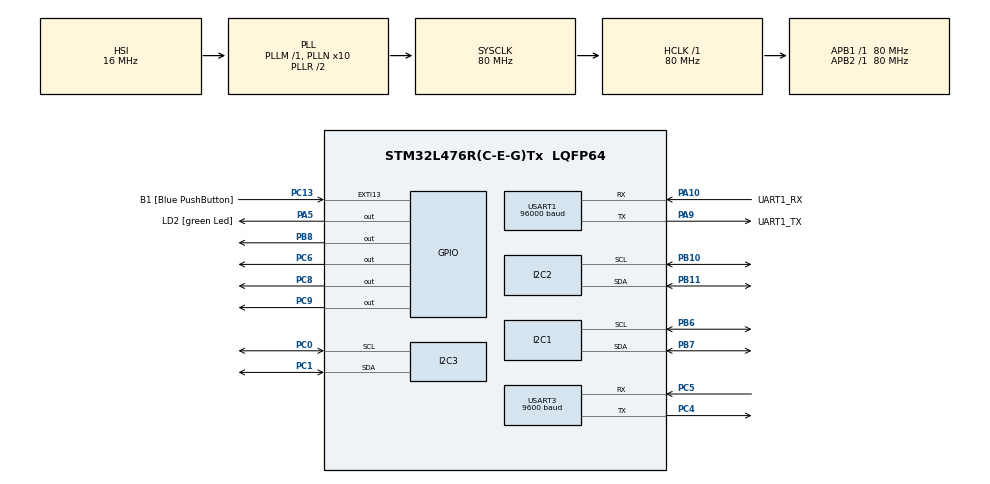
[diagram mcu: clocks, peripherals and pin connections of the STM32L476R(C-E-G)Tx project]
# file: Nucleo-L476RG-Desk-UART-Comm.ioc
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I2C1.Timing=0x10D19CE4
I2C2.Timing=0x10D19CE4
I2C3.Timing=0x10D19CE4
Mcu.Family=STM32L4
Mcu.Name=STM32L476R(C-E-G)Tx
Mcu.Package=LQFP64
NVIC.I2C1_ER_IRQn=true\:0\:0\:false\:false\:true\:true\:true\:true
NVIC.I2C1_EV_IRQn=true\:0\:0\:false\:false\:true\:true\:true\:true
NVIC.I2C2_ER_IRQn=true\:0\:0\:false\:false\:true\:true\:true\:true
NVIC.I2C2_EV_IRQn=true\:0\:0\:false\:false\:true\:true\:true\:true
NVIC.I2C3_ER_IRQn=true\:0\:0\:false\:false\:true\:true\:true\:true
NVIC.I2C3_EV_IRQn=true\:0\:0\:false\:false\:true\:true\:true\:true
NVIC.PriorityGroup=NVIC_PRIORITYGROUP_4
NVIC.USART1_IRQn=true\:0\:0\:false\:false\:true\:true\:true\:true
NVIC.USART3_IRQn=true\:0\:0\:false\:false\:true\:true\:true\:true
PA10.GPIO_Label=UART1_RX
PA10.Mode=Asynchronous
PA10.Signal=USART1_RX
PA13\ (JTMS-SWDIO).GPIO_Label=TMS
PA13\ (JTMS-SWDIO).Mode=Serial_Wire
PA13\ (JTMS-SWDIO).Signal=SYS_JTMS-SWDIO
PA14\ (JTCK-SWCLK).GPIO_Label=TCK
PA14\ (JTCK-SWCLK).Mode=Serial_Wire
PA14\ (JTCK-SWCLK).Signal=SYS_JTCK-SWCLK
PA2.GPIO_Label=UART2_TX
PA2.GPIO_Mode=GPIO_MODE_AF_PP
PA2.GPIO_PuPd=GPIO_NOPULL
PA2.GPIO_Speed=GPIO_SPEED_FREQ_VERY_HIGH
PA2.Signal=USART2_TX
PA3.GPIO_Label=UART2_RX
PA3.GPIO_Mode=GPIO_MODE_AF_PP
PA3.GPIO_PuPd=GPIO_NOPULL
PA3.GPIO_Speed=GPIO_SPEED_FREQ_VERY_HIGH
PA3.Signal=USART2_RX
PA5.GPIO_Label=LD2 [green Led]
PA5.GPIO_ModeDefaultOutputPP=GPIO_MODE_OUTPUT_PP
PA5.GPIO_PuPd=GPIO_NOPULL
PA5.GPIO_Speed=GPIO_SPEED_FREQ_LOW
PA5.Signal=GPIO_Output
PA9.GPIO_Label=UART1_TX
PA9.Mode=Asynchronous
PA9.Signal=USART1_TX
PB10.GPIO_Pu=GPIO_PULLUP
PB10.Mode=I2C
PB10.Signal=I2C2_SCL
PB11.GPIO_Pu=GPIO_PULLUP
PB11.Mode=I2C
PB11.Signal=I2C2_SDA
PB3\ (JTDO-TRACESWO).GPIO_Label=SWO
PB3\ (JTDO-TRACESWO).Signal=SYS_JTDO-SWO
PB6.GPIO_Pu=GPIO_PULLUP
PB6.Mode=I2C
PB6.Signal=I2C1_SCL
PB7.GPIO_Pu=GPIO_PULLUP
PB7.Mode=I2C
PB7.Signal=I2C1_SDA
PB8.Signal=GPIO_Output
PC0.GPIO_Pu=GPIO_PULLUP
PC0.Mode=I2C
PC0.Signal=I2C3_SCL
PC1.Mode=I2C
PC1.Signal=I2C3_SDA
PC13.GPIO_Label=B1 [Blue PushButton]
PC13.GPIO_ModeDefaultEXTI=GPIO_MODE_IT_FALLING
PC13.GPIO_PuPd=GPIO_NOPULL
PC13.Signal=GPXTI13
PC14-OSC32_IN\ (PC14).Mode=LSE-External-Oscillator
PC14-OSC32_IN\ (PC14).Signal=RCC_OSC32_IN
PC15-OSC32_OUT\ (PC15).Mode=LSE-External-Oscillator
PC15-OSC32_OUT\ (PC15).Signal=RCC_OSC32_OUT
PC4.Mode=Asynchronous
PC4.Signal=USART3_TX
PC5.Mode=Asynchronous
PC5.Signal=USART3_RX
PC6.Signal=GPIO_Output
PC8.Signal=GPIO_Output
PC9.Signal=GPIO_Output
PH0-OSC_IN\ (PH0).Signal=RCC_OSC_IN
PH1-OSC_OUT\ (PH1).Signal=RCC_OSC_OUT
ProjectManager.HeapSize=0x200
ProjectManager.StackSize=0x400
ProjectManager.TargetToolchain=STM32CubeIDE
RCC.ADCFreq_Value=64000000
RCC.AHBFreq_Value=80000000
RCC.APB1Freq_Value=80000000
RCC.APB1TimFreq_Value=80000000
RCC.APB2Freq_Value=80000000
RCC.APB2TimFreq_Value=80000000
RCC.CortexFreq_Value=80000000
RCC.HCLKFreq_Value=80000000
RCC.HSE_VALUE=8000000
RCC.HSI_VALUE=16000000
RCC.MSI_VALUE=4000000
RCC.PLLN=10
RCC.PLLSourceVirtual=RCC_PLLSOURCE_HSI
RCC.PREFETCH_ENABLE=1
RCC.SYSCLKFreq_VALUE=80000000
RCC.SYSCLKSource=RCC_SYSCLKSOURCE_PLLCLK
RCC.USBFreq_Value=64000000
RCC.VCOOutputFreq_Value=160000000
USART1.BaudRate=96000
USART1.Mode=MODE_TX_RX
USART1.VirtualMode-Asynchronous=VM_ASYNC
USART3.BaudRate=9600
USART3.VirtualMode-Asynchronous=VM_ASYNC
board=NUCLEO-L476RG

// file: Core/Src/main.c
/* USER CODE BEGIN Header */
/**
  ******************************************************************************
  * @file           : main.c
  * @brief          : Main program body
  ******************************************************************************
  * @attention
  *
  * Copyright (c) 2025 STMicroelectronics.
  * All rights reserved.
  *
  * This software is licensed under terms that can be found in the LICENSE file
  * in the root directory of this software component.
  * If no LICENSE file comes with this software, it is provided AS-IS.
  *
  ******************************************************************************
  */
/* USER CODE END Header */
#include "main.h"

/* USER CODE BEGIN Includes */
#include "store_flash_data.h"
#include "card_rfid.h"
#include "lab_deck.h"
#include "led_controller.h"
#include "power_relay.h"
#include "desk_control.h"
#include "stdint.h"
#include "stdio.h"
#include "string.h"
#include "stdlib.h"
/* USER CODE END Includes */

I2C_HandleTypeDef hi2c1;
I2C_HandleTypeDef hi2c2;
I2C_HandleTypeDef hi2c3;

UART_HandleTypeDef huart1;
UART_HandleTypeDef huart3;

void SystemClock_Config(void);
static void MX_GPIO_Init(void);
static void MX_USART1_UART_Init(void);
static void MX_I2C1_Init(void);
static void MX_I2C2_Init(void);
static void MX_I2C3_Init(void);
static void MX_USART3_UART_Init(void);

/* USER CODE BEGIN 0 */
// some sample code for writing to memory, temporary
//#define FLASH_ADDRESS_STRING 0X080FF800
//#define FLASH_ADDRESS_COUNTER 0x080fE800
uint16_t RELAY_ADDR = 0x18;
uint8_t turn_On[] =		{0b00000001};
uint8_t turn_Off[] = 	{0b00000000};
struct profiles* list;

//uint32_t counter;
uint8_t rx_buf_rfid[14];
uint8_t rx_buf_desk[4];
uint64_t scanned_ID;
int current_Height = 250;
int target_Height = 300;
uint8_t adjust_Desk = 0;

void loadProfile(struct profiles* profile)
{
	target_Height = profile->Desk_Height;

	//Adjust PWM
	//led_controller_pwm(profile->LED_Red, profile->LED_Green, profile->LED_Blue);

	//Do relays
	//Don't think this will be ready by 5-04

	HAL_I2C_Master_Transmit(&hi2c1, RELAY_ADDR<< 1, turn_Off, 1, 100);
	HAL_I2C_Master_Transmit(&hi2c2, RELAY_ADDR<< 1, turn_Off, 1, 100);
	if (profile->Relay_Preset & 0b01)
	{
		HAL_I2C_Master_Transmit(&hi2c1, RELAY_ADDR<< 1, turn_On, 1, 100);
	}
	if (profile->Relay_Preset & 0b10)
	{
		HAL_I2C_Master_Transmit(&hi2c2, RELAY_ADDR<< 1, turn_On, 1, 100);
	}
	//For now, blink LED to show it is doing something
	//HAL_GPIO_TogglePin(LD2_GPIO_Port, LD2_Pin);  // LED Toggle
    printf("Break");
}

void findProfile(struct profiles* pList, uint64_t scanned_ID)
{
	while (pList!=NULL)
	{
		if (scanned_ID == pList->UID_Card)
		{
			loadProfile(pList);
			adjust_Desk = 1;
			return;
		}
		pList = pList->next;
	}
	//No profile found
	//Do nothing!
}

/* USER CODE END 0 */

int main(void)
{

  /* USER CODE BEGIN 1 */

	uint64_t profileIDs[] = {0x001234567890ABCD, 0x0004669E22851590, 0x0050993A61000000, 0x0043f1fa2c000000, 0x0070C77731A20846};
	int profileData[][5] = {{252, 255, 255, 255, 0b00}, {226, 000, 000, 000, 0b11}, {327, 000, 000, 000, 0b01}, {250, 000, 000, 000, 0b10}, {250, 000, 000, 000, 0b00}};

	//Do initial struct construction here
	list = addProfiles(profileIDs, profileData, sizeof(profileIDs) / 8);

  /* USER CODE END 1 */

  /* MCU Configuration--------------------------------------------------------*/

  /* Reset of all peripherals, Initializes the Flash interface and the Systick. */
  HAL_Init();

  /* Configure the system clock */
  SystemClock_Config();

  /* Initialize all configured peripherals */
  MX_GPIO_Init();
  MX_USART1_UART_Init();
  MX_I2C1_Init();
  MX_I2C2_Init();
  MX_I2C3_Init();
  MX_USART3_UART_Init();
  /* USER CODE BEGIN 2 */

  HAL_UART_Receive_IT(&huart1, rx_buf_rfid, sizeof(rx_buf_rfid));
  HAL_UART_Receive_IT(&huart3, rx_buf_desk, sizeof(rx_buf_desk));

  HAL_GPIO_WritePin(GPIOC, GPIO_PIN_6, GPIO_PIN_SET); 	//Go up off
  HAL_GPIO_WritePin(GPIOB, GPIO_PIN_8, GPIO_PIN_SET); 	//Go down off
  HAL_GPIO_WritePin(GPIOC, GPIO_PIN_8, GPIO_PIN_RESET);	//To make desk think
  HAL_GPIO_WritePin(GPIOC, GPIO_PIN_9, GPIO_PIN_SET); 	//controller is connected
/*
  uint8_t test[] = {0, 1, 2, 3};

  HAL_UART_Transmit_IT(&huart1, test, sizeof(test));
  HAL_UART_Transmit_IT(&huart2, test, sizeof(test));
  HAL_UART_Transmit_IT(&huart3, test, sizeof(test));
*/

/*
  // sample code for writing to flash. Update when properly implemented
  HAL_Delay(100);
  store_flash_memory(FLASH_ADDRESS_STRING, (uint8_t *)profile3, sizeof(profile3));
  HAL_Delay(100);

  //Test invalid ID
  parse_for_profile(bad_id, FLASH_ADDRESS_STRING, sizeof(profile3));

  //Test for valid ID
  parse_for_profile(good_id, FLASH_ADDRESS_STRING, sizeof(profile3));

  //Change LED controller PWM 1 time
  led_controller_pwm(255, 255, 255);

  //Change LED controller PWM 2nd time
  led_controller_pwm(0, 0, 0);
*/

  //read_flash_memory(FLASH_ADDRESS_STRING, (uint8_t *)char_read, sizeof(char_random));
  //printf("string read is %s \n\r", char_read);
  //read_flash_memory(FLASH_ADDRESS_COUNTER, (uint8_t *)&counter, sizeof(counter));

  /* USER CODE END 2 */

  /* Infinite loop */
  /* USER CODE BEGIN WHILE */
  while (1)
  {

		HAL_UART_Receive_IT(&huart3, rx_buf_desk, sizeof(rx_buf_desk));
	  while(adjust_Desk)
	  {
		  HAL_UART_Receive_IT(&huart3, rx_buf_desk, sizeof(rx_buf_desk));
		  if (target_Height + 8 < current_Height)
		  {
			  //Set UP GPIO lo
			  HAL_GPIO_WritePin(GPIOC, GPIO_PIN_6, GPIO_PIN_RESET);
			  //Set DOWN GPIO hi
			  HAL_GPIO_WritePin(GPIOB, GPIO_PIN_8, GPIO_PIN_SET);
			  HAL_Delay(10);
		  }
		  else if (target_Height - 8 > current_Height)
		  {
			  //Set UP GPIO hi
			  HAL_GPIO_WritePin(GPIOC, GPIO_PIN_6, GPIO_PIN_SET);
			  //Set DOWN GPIO lo
			  HAL_GPIO_WritePin(GPIOB, GPIO_PIN_8, GPIO_PIN_RESET);
			  HAL_Delay(10);
		  }
		  //Set DOWN GPIO hi
		  else
		  {
			  HAL_GPIO_WritePin(GPIOB, GPIO_PIN_8, GPIO_PIN_SET);
			  //Set UP GPIO hi
			  HAL_GPIO_WritePin(GPIOC, GPIO_PIN_6, GPIO_PIN_SET);
			  HAL_Delay(10);
		  }
		  if (target_Height == current_Height)
		  {
			  adjust_Desk = 0;
		  }
	  }

	  /*
	  if (HAL_GPIO_ReadPin(GPIOC, GPIO_PIN_0) == GPIO_PIN_SET)
	  {
		  HAL_GPIO_WritePin(LD2_GPIO_Port, LD2_Pin, GPIO_PIN_SET);  // LED ON
	  }
	  else
	  {
		  HAL_GPIO_WritePin(LD2_GPIO_Port, LD2_Pin, GPIO_PIN_RESET); // LED OFF
	  }
	*/

    /* USER CODE END WHILE */

  }
}

void SystemClock_Config(void)
{
  RCC_OscInitTypeDef RCC_OscInitStruct = {0};
  RCC_ClkInitTypeDef RCC_ClkInitStruct = {0};

  /** Configure the main internal regulator output voltage
  */
  if (HAL_PWREx_ControlVoltageScaling(PWR_REGULATOR_VOLTAGE_SCALE1) != HAL_OK)
  {
    Error_Handler();
  }

  /** Initializes the RCC Oscillators according to the specified parameters
  * in the RCC_OscInitTypeDef structure.
  */
  RCC_OscInitStruct.OscillatorType = RCC_OSCILLATORTYPE_HSI;
  RCC_OscInitStruct.HSIState = RCC_HSI_ON;
  RCC_OscInitStruct.HSICalibrationValue = RCC_HSICALIBRATION_DEFAULT;
  RCC_OscInitStruct.PLL.PLLState = RCC_PLL_ON;
  RCC_OscInitStruct.PLL.PLLSource = RCC_PLLSOURCE_HSI;
  RCC_OscInitStruct.PLL.PLLM = 1;
  RCC_OscInitStruct.PLL.PLLN = 10;
  RCC_OscInitStruct.PLL.PLLP = RCC_PLLP_DIV7;
  RCC_OscInitStruct.PLL.PLLQ = RCC_PLLQ_DIV2;
  RCC_OscInitStruct.PLL.PLLR = RCC_PLLR_DIV2;
  if (HAL_RCC_OscConfig(&RCC_OscInitStruct) != HAL_OK)
  {
    Error_Handler();
  }

  /** Initializes the CPU, AHB and APB buses clocks
  */
  RCC_ClkInitStruct.ClockType = RCC_CLOCKTYPE_HCLK|RCC_CLOCKTYPE_SYSCLK
                              |RCC_CLOCKTYPE_PCLK1|RCC_CLOCKTYPE_PCLK2;
  RCC_ClkInitStruct.SYSCLKSource = RCC_SYSCLKSOURCE_PLLCLK;
  RCC_ClkInitStruct.AHBCLKDivider = RCC_SYSCLK_DIV1;
  RCC_ClkInitStruct.APB1CLKDivider = RCC_HCLK_DIV1;
  RCC_ClkInitStruct.APB2CLKDivider = RCC_HCLK_DIV1;

  if (HAL_RCC_ClockConfig(&RCC_ClkInitStruct, FLASH_LATENCY_4) != HAL_OK)
  {
    Error_Handler();
  }
}

static void MX_I2C1_Init(void)
{

  hi2c1.Instance = I2C1;
  hi2c1.Init.Timing = 0x10D19CE4;
  hi2c1.Init.OwnAddress1 = 0;
  hi2c1.Init.AddressingMode = I2C_ADDRESSINGMODE_7BIT;
  hi2c1.Init.DualAddressMode = I2C_DUALADDRESS_DISABLE;
  hi2c1.Init.OwnAddress2 = 0;
  hi2c1.Init.OwnAddress2Masks = I2C_OA2_NOMASK;
  hi2c1.Init.GeneralCallMode = I2C_GENERALCALL_DISABLE;
  hi2c1.Init.NoStretchMode = I2C_NOSTRETCH_DISABLE;
  if (HAL_I2C_Init(&hi2c1) != HAL_OK)
  {
    Error_Handler();
  }

  /** Configure Analogue filter
  */
  if (HAL_I2CEx_ConfigAnalogFilter(&hi2c1, I2C_ANALOGFILTER_ENABLE) != HAL_OK)
  {
    Error_Handler();
  }

  /** Configure Digital filter
  */
  if (HAL_I2CEx_ConfigDigitalFilter(&hi2c1, 0) != HAL_OK)
  {
    Error_Handler();
  }

}

static void MX_I2C2_Init(void)
{

  hi2c2.Instance = I2C2;
  hi2c2.Init.Timing = 0x10D19CE4;
  hi2c2.Init.OwnAddress1 = 0;
  hi2c2.Init.AddressingMode = I2C_ADDRESSINGMODE_7BIT;
  hi2c2.Init.DualAddressMode = I2C_DUALADDRESS_DISABLE;
  hi2c2.Init.OwnAddress2 = 0;
  hi2c2.Init.OwnAddress2Masks = I2C_OA2_NOMASK;
  hi2c2.Init.GeneralCallMode = I2C_GENERALCALL_DISABLE;
  hi2c2.Init.NoStretchMode = I2C_NOSTRETCH_DISABLE;
  if (HAL_I2C_Init(&hi2c2) != HAL_OK)
  {
    Error_Handler();
  }

  /** Configure Analogue filter
  */
  if (HAL_I2CEx_ConfigAnalogFilter(&hi2c2, I2C_ANALOGFILTER_ENABLE) != HAL_OK)
  {
    Error_Handler();
  }

  /** Configure Digital filter
  */
  if (HAL_I2CEx_ConfigDigitalFilter(&hi2c2, 0) != HAL_OK)
  {
    Error_Handler();
  }

}

static void MX_I2C3_Init(void)
{

  hi2c3.Instance = I2C3;
  hi2c3.Init.Timing = 0x10D19CE4;
  hi2c3.Init.OwnAddress1 = 0;
  hi2c3.Init.AddressingMode = I2C_ADDRESSINGMODE_7BIT;
  hi2c3.Init.DualAddressMode = I2C_DUALADDRESS_DISABLE;
  hi2c3.Init.OwnAddress2 = 0;
  hi2c3.Init.OwnAddress2Masks = I2C_OA2_NOMASK;
  hi2c3.Init.GeneralCallMode = I2C_GENERALCALL_DISABLE;
  hi2c3.Init.NoStretchMode = I2C_NOSTRETCH_DISABLE;
  if (HAL_I2C_Init(&hi2c3) != HAL_OK)
  {
    Error_Handler();
  }

  /** Configure Analogue filter
  */
  if (HAL_I2CEx_ConfigAnalogFilter(&hi2c3, I2C_ANALOGFILTER_ENABLE) != HAL_OK)
  {
    Error_Handler();
  }

  /** Configure Digital filter
  */
  if (HAL_I2CEx_ConfigDigitalFilter(&hi2c3, 0) != HAL_OK)
  {
    Error_Handler();
  }

}

static void MX_USART1_UART_Init(void)
{

  huart1.Instance = USART1;
  huart1.Init.BaudRate = 96000;
  huart1.Init.WordLength = UART_WORDLENGTH_8B;
  huart1.Init.StopBits = UART_STOPBITS_1;
  huart1.Init.Parity = UART_PARITY_NONE;
  huart1.Init.Mode = UART_MODE_TX_RX;
  huart1.Init.HwFlowCtl = UART_HWCONTROL_NONE;
  huart1.Init.OverSampling = UART_OVERSAMPLING_16;
  huart1.Init.OneBitSampling = UART_ONE_BIT_SAMPLE_DISABLE;
  huart1.AdvancedInit.AdvFeatureInit = UART_ADVFEATURE_NO_INIT;
  if (HAL_UART_Init(&huart1) != HAL_OK)
  {
    Error_Handler();
  }

}

static void MX_USART3_UART_Init(void)
{

  huart3.Instance = USART3;
  huart3.Init.BaudRate = 9600;
  huart3.Init.WordLength = UART_WORDLENGTH_8B;
  huart3.Init.StopBits = UART_STOPBITS_1;
  huart3.Init.Parity = UART_PARITY_NONE;
  huart3.Init.Mode = UART_MODE_TX_RX;
  huart3.Init.HwFlowCtl = UART_HWCONTROL_NONE;
  huart3.Init.OverSampling = UART_OVERSAMPLING_16;
  huart3.Init.OneBitSampling = UART_ONE_BIT_SAMPLE_DISABLE;
  huart3.AdvancedInit.AdvFeatureInit = UART_ADVFEATURE_NO_INIT;
  if (HAL_UART_Init(&huart3) != HAL_OK)
  {
    Error_Handler();
  }

}

static void MX_GPIO_Init(void)
{
  GPIO_InitTypeDef GPIO_InitStruct = {0};

  /* GPIO Ports Clock Enable */
  __HAL_RCC_GPIOC_CLK_ENABLE();
  __HAL_RCC_GPIOH_CLK_ENABLE();
  __HAL_RCC_GPIOA_CLK_ENABLE();
  __HAL_RCC_GPIOB_CLK_ENABLE();

  /*Configure GPIO pin Output Level */
  HAL_GPIO_WritePin(LD2_GPIO_Port, LD2_Pin, GPIO_PIN_RESET);

  /*Configure GPIO pin Output Level */
  HAL_GPIO_WritePin(GPIOC, GPIO_PIN_6|GPIO_PIN_8|GPIO_PIN_9, GPIO_PIN_RESET);

  /*Configure GPIO pin Output Level */
  HAL_GPIO_WritePin(GPIOB, GPIO_PIN_8, GPIO_PIN_RESET);

  /*Configure GPIO pin : B1_Pin */
  GPIO_InitStruct.Pin = B1_Pin;
  GPIO_InitStruct.Mode = GPIO_MODE_IT_FALLING;
  GPIO_InitStruct.Pull = GPIO_NOPULL;
  HAL_GPIO_Init(B1_GPIO_Port, &GPIO_InitStruct);

  /*Configure GPIO pins : UART2_TX_Pin UART2_RX_Pin */
  GPIO_InitStruct.Pin = UART2_TX_Pin|UART2_RX_Pin;
  GPIO_InitStruct.Mode = GPIO_MODE_AF_PP;
  GPIO_InitStruct.Pull = GPIO_NOPULL;
  GPIO_InitStruct.Speed = GPIO_SPEED_FREQ_VERY_HIGH;
  GPIO_InitStruct.Alternate = GPIO_AF7_USART2;
  HAL_GPIO_Init(GPIOA, &GPIO_InitStruct);

  /*Configure GPIO pin : LD2_Pin */
  GPIO_InitStruct.Pin = LD2_Pin;
  GPIO_InitStruct.Mode = GPIO_MODE_OUTPUT_PP;
  GPIO_InitStruct.Pull = GPIO_NOPULL;
  GPIO_InitStruct.Speed = GPIO_SPEED_FREQ_LOW;
  HAL_GPIO_Init(LD2_GPIO_Port, &GPIO_InitStruct);

  /*Configure GPIO pins : PC6 PC8 PC9 */
  GPIO_InitStruct.Pin = GPIO_PIN_6|GPIO_PIN_8|GPIO_PIN_9;
  GPIO_InitStruct.Mode = GPIO_MODE_OUTPUT_PP;
  GPIO_InitStruct.Pull = GPIO_NOPULL;
  GPIO_InitStruct.Speed = GPIO_SPEED_FREQ_LOW;
  HAL_GPIO_Init(GPIOC, &GPIO_InitStruct);

  /*Configure GPIO pin : PB8 */
  GPIO_InitStruct.Pin = GPIO_PIN_8;
  GPIO_InitStruct.Mode = GPIO_MODE_OUTPUT_PP;
  GPIO_InitStruct.Pull = GPIO_NOPULL;
  GPIO_InitStruct.Speed = GPIO_SPEED_FREQ_LOW;
  HAL_GPIO_Init(GPIOB, &GPIO_InitStruct);

}

/* USER CODE BEGIN 4 */
void HAL_UART_RxCpltCallback(UART_HandleTypeDef *huart)
{
	printf("Break point1");
	if (huart == &huart1)
	{
		//RFID Reader
		//Load RFID into scanned ID variable (just in case)
		printf("Break point");
		uint64_t scanned_ID = buf_to_num(rx_buf_rfid);
		//1. Check if ID is in our saved list
		//2. ID in list: load data and communicate to change things
		//3. ID not in list: Error! Blink LED
		findProfile(list, scanned_ID);
		HAL_UART_Receive_IT(&huart1, rx_buf_rfid, sizeof(rx_buf_rfid)); //Re-open to receive new IDs
	}
	if (huart == &huart3)
	{
		//The Control Box (table)
		//Just adjust height variable to current height
		current_Height = upliftDecoder(rx_buf_desk);
		rx_buf_desk[0] = 0b0;
		HAL_UART_Receive_IT(&huart3, rx_buf_desk, sizeof(rx_buf_desk));
	}

}
/* USER CODE END 4 */

void Error_Handler(void)
{
  __disable_irq();
  while (1)
  {
  }
}
